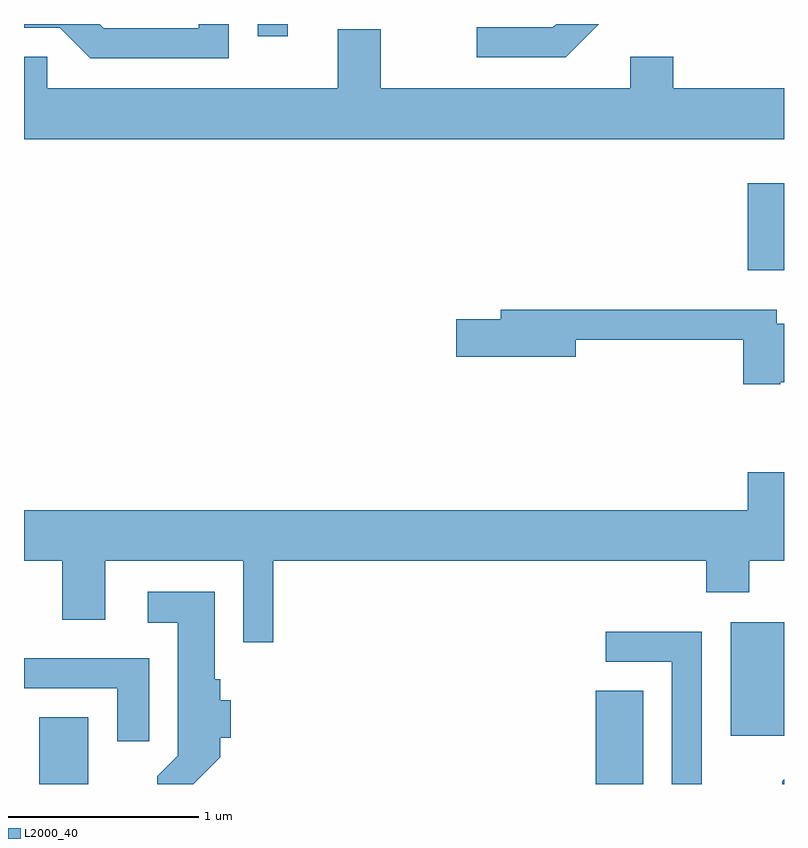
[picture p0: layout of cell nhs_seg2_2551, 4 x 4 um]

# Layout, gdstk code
import gdstk
lib = gdstk.Library(unit=1e-6, precision=1e-09)
def R(c, l, rs):  # rectangles x0, y0, x1, y1
    for r in rs: c.add(gdstk.rectangle(r[:2], r[2:], *l))
def P(c, l, *ps):  # polygons
    for p in ps: c.add(gdstk.Polygon(p, *l))
L2000_40 = (2000, 40)

nhs_seg2_2551 = lib.new_cell('nhs_seg2_2551')
R(nhs_seg2_2551, L2000_40, [(259.691,1053.802,259.949,1054.154), (262.621,1053.802,262.869,1054.294), (263.331,1054.056,263.611,1054.654), (263.421,1056.506,263.611,1056.964), (260.841,1057.738,260.999,1057.802)])
P(nhs_seg2_2551, L2000_40, [(262.637,1057.802),(262.412,1057.802),(262.394,1057.784),(261.993,1057.784),(261.993,1057.626),(262.462,1057.626)],
  [(260.689,1057.802),(260.531,1057.802),(260.531,1057.779),(260.032,1057.779),(260.009,1057.802),(259.611,1057.802),(259.611,1057.781),(259.799,1057.781),(259.959,1057.621),(260.689,1057.621)],
  [(263.611,1057.464),(263.029,1057.464),(263.029,1057.629),(262.801,1057.629),(262.801,1057.464),(261.489,1057.464),(261.489,1057.774),(261.261,1057.774),(261.261,1057.464),(259.734,1057.464),(259.734,1057.629),(259.611,1057.629),(259.611,1057.196),(263.611,1057.196)],
  [(263.59,1055.916),(263.611,1055.916),(263.611,1056.224),(263.574,1056.224),(263.574,1056.299),(262.121,1056.299),(262.121,1056.249),(261.886,1056.249),(261.886,1056.051),(262.514,1056.051),(262.514,1056.141),(263.396,1056.141),(263.396,1055.906),(263.59,1055.906)],
  [(260.924,1054.976),(263.201,1054.976),(263.201,1054.811),(263.429,1054.811),(263.429,1054.976),(263.611,1054.976),(263.611,1055.444),(263.421,1055.444),(263.421,1055.244),(259.611,1055.244),(259.611,1054.976),(259.811,1054.976),(259.811,1054.666),(260.039,1054.666),(260.039,1054.976),(260.766,1054.976),(260.766,1054.548),(260.924,1054.548)],
  [(260.644,1053.944),(260.644,1054.046),(260.699,1054.046),(260.699,1054.244),(260.644,1054.244),(260.644,1054.354),(260.614,1054.354),(260.614,1054.814),(260.263,1054.814),(260.263,1054.651),(260.421,1054.651),(260.421,1053.952),(260.311,1053.842),(260.311,1053.802),(260.502,1053.802)],
  [(263.179,1054.604),(262.673,1054.604),(262.673,1054.446),(263.021,1054.446),(263.021,1053.802),(263.179,1053.802)],
  [(260.269,1054.464),(259.611,1054.464),(259.611,1054.306),(260.101,1054.306),(260.101,1054.028),(260.269,1054.028)],
  [(263.611,1053.827),(263.601,1053.817),(263.601,1053.802),(263.611,1053.802)])

lib.write_gds('nhs_seg2_2551.gds')
